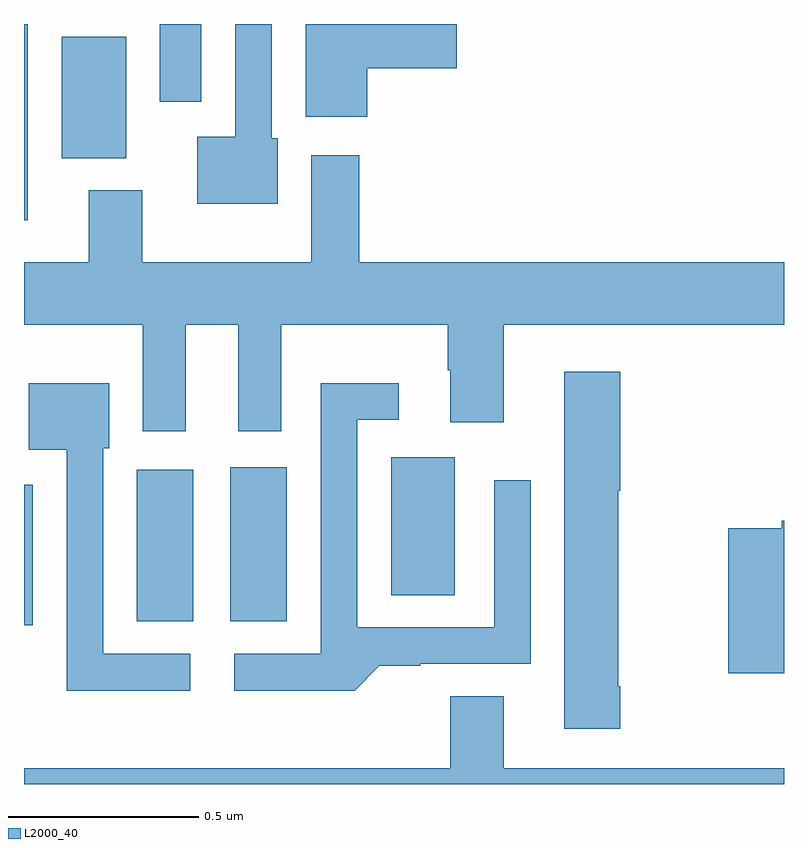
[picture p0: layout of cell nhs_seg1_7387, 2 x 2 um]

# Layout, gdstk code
import gdstk
lib = gdstk.Library(unit=1e-6, precision=1e-09)
def R(c, l, rs):  # rectangles x0, y0, x1, y1
    for r in rs: c.add(gdstk.rectangle(r[:2], r[2:], *l))
def P(c, l, *ps):  # polygons
    for p in ps: c.add(gdstk.Polygon(p, *l))
L2000_40 = (2000, 40)

nhs_seg1_7387 = lib.new_cell('nhs_seg1_7387')
R(nhs_seg1_7387, L2000_40, [(203,541.617,203.023,541.987), (203.297,541.627,203.446,542.026), (203.543,541.627,203.692,542.032), (203.966,541.696,204.133,542.059), (203,542.682,203.01,543.199), (203.099,542.846,203.269,543.166), (203.357,542.994,203.467,543.199)])
P(nhs_seg1_7387, L2000_40, [(203.903,543.083),(204.139,543.083),(204.139,543.199),(203.741,543.199),(203.741,542.955),(203.903,542.955)],
  [(203.668,542.898),(203.652,542.898),(203.652,543.199),(203.556,543.199),(203.556,542.902),(203.456,542.902),(203.456,542.726),(203.668,542.726)],
  [(203.425,542.408),(203.564,542.408),(203.564,542.127),(203.677,542.127),(203.677,542.408),(204.115,542.408),(204.115,542.288),(204.122,542.288),(204.122,542.151),(204.262,542.151),(204.262,542.408),(205,542.408),(205,542.572),(203.882,542.572),(203.882,542.854),(203.756,542.854),(203.756,542.572),(203.311,542.572),(203.311,542.761),(203.171,542.761),(203.171,542.572),(203,542.572),(203,542.408),(203.312,542.408),(203.312,542.127),(203.425,542.127)],
  [(204.569,541.456),(204.564,541.456),(204.564,541.971),(204.569,541.971),(204.569,542.284),(204.422,542.284),(204.422,541.344),(204.569,541.344)],
  [(203.437,541.542),(203.208,541.542),(203.208,542.082),(203.224,542.082),(203.224,542.254),(203.012,542.254),(203.012,542.078),(203.112,542.078),(203.112,541.445),(203.437,541.445)],
  [(203.935,541.51),(204.043,541.51),(204.043,541.515),(204.333,541.515),(204.333,541.999),(204.237,541.999),(204.237,541.611),(203.877,541.611),(203.877,542.157),(203.986,542.157),(203.986,542.254),(203.781,542.254),(203.781,541.542),(203.553,541.542),(203.553,541.445),(203.87,541.445)],
  [(205,541.892),(204.994,541.892),(204.994,541.872),(204.853,541.872),(204.853,541.491),(205,541.491)],
  [(205,541.24),(204.262,541.24),(204.262,541.43),(204.122,541.43),(204.122,541.24),(203,541.24),(203,541.199),(205,541.199)])

lib.write_gds('nhs_seg1_7387.gds')
